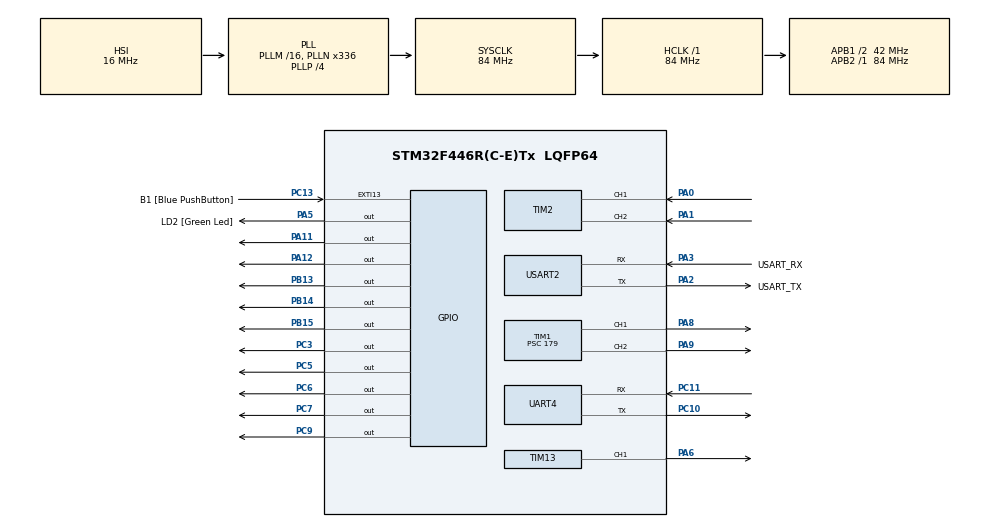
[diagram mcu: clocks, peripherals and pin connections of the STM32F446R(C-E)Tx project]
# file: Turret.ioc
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Dma.Request0=UART4_RX
Dma.UART4_RX.0.Direction=DMA_PERIPH_TO_MEMORY
Dma.UART4_RX.0.FIFOMode=DMA_FIFOMODE_DISABLE
Dma.UART4_RX.0.Instance=DMA1_Stream2
Dma.UART4_RX.0.MemDataAlignment=DMA_MDATAALIGN_BYTE
Dma.UART4_RX.0.MemInc=DMA_MINC_ENABLE
Dma.UART4_RX.0.Mode=DMA_CIRCULAR
Dma.UART4_RX.0.PeriphDataAlignment=DMA_PDATAALIGN_BYTE
Dma.UART4_RX.0.PeriphInc=DMA_PINC_DISABLE
Dma.UART4_RX.0.Priority=DMA_PRIORITY_LOW
Mcu.Family=STM32F4
Mcu.Name=STM32F446R(C-E)Tx
Mcu.Package=LQFP64
NVIC.DMA1_Stream2_IRQn=true\:0\:0\:false\:false\:true\:false\:true\:true
NVIC.PriorityGroup=NVIC_PRIORITYGROUP_0
NVIC.UART4_IRQn=true\:0\:0\:false\:false\:true\:true\:true\:true
PA0-WKUP.GPIO_PuPd=GPIO_PULLUP
PA0-WKUP.Signal=S_TIM2_CH1_ETR
PA1.GPIO_PuPd=GPIO_PULLUP
PA1.Signal=S_TIM2_CH2
PA11.Signal=GPIO_Output
PA12.Signal=GPIO_Output
PA13.GPIO_Label=TMS
PA13.Mode=Serial_Wire
PA13.Signal=SYS_JTMS-SWDIO
PA14.GPIO_Label=TCK
PA14.Mode=Serial_Wire
PA14.Signal=SYS_JTCK-SWCLK
PA2.GPIO_Label=USART_TX
PA2.Mode=Asynchronous
PA2.Signal=USART2_TX
PA3.GPIO_Label=USART_RX
PA3.Mode=Asynchronous
PA3.Signal=USART2_RX
PA5.GPIO_Label=LD2 [Green Led]
PA5.Signal=GPIO_Output
PA6.Signal=S_TIM13_CH1
PA8.Signal=S_TIM1_CH1
PA9.Signal=S_TIM1_CH2
PB13.Signal=GPIO_Output
PB14.Signal=GPIO_Output
PB15.Signal=GPIO_Output
PB3.GPIO_Label=SWO
PB3.Signal=SYS_JTDO-SWO
PC10.Mode=Asynchronous
PC10.Signal=UART4_TX
PC11.Mode=Asynchronous
PC11.Signal=UART4_RX
PC13.GPIO_Label=B1 [Blue PushButton]
PC13.GPIO_ModeDefaultEXTI=GPIO_MODE_IT_FALLING
PC13.Signal=GPXTI13
PC14-OSC32_IN.Mode=LSE-External-Oscillator
PC14-OSC32_IN.Signal=RCC_OSC32_IN
PC15-OSC32_OUT.Mode=LSE-External-Oscillator
PC15-OSC32_OUT.Signal=RCC_OSC32_OUT
PC3.Signal=GPIO_Output
PC5.Signal=GPIO_Output
PC6.Signal=GPIO_Output
PC7.Signal=GPIO_Output
PC9.Signal=GPIO_Output
PH0-OSC_IN.Mode=HSE-External-Oscillator
PH0-OSC_IN.Signal=RCC_OSC_IN
PH1-OSC_OUT.Mode=HSE-External-Oscillator
PH1-OSC_OUT.Signal=RCC_OSC_OUT
ProjectManager.HeapSize=0x200
ProjectManager.StackSize=0x400
ProjectManager.TargetToolchain=STM32CubeIDE
RCC.48MHZClocksFreq_Value=84000000
RCC.AHBFreq_Value=84000000
RCC.APB1CLKDivider=RCC_HCLK_DIV2
RCC.APB1Freq_Value=42000000
RCC.APB1TimFreq_Value=84000000
RCC.APB2Freq_Value=84000000
RCC.APB2TimFreq_Value=84000000
RCC.CortexFreq_Value=84000000
RCC.FLatency-AdvancedSettings=FLASH_LATENCY_2
RCC.HCLKFreq_Value=84000000
RCC.HSE_VALUE=8000000
RCC.HSI_VALUE=16000000
RCC.PLLN=336
RCC.PLLP=RCC_PLLP_DIV4
RCC.SYSCLKFreq_VALUE=84000000
RCC.SYSCLKSource=RCC_SYSCLKSOURCE_PLLCLK
RCC.USBFreq_Value=168000000
RCC.VCOOutputFreq_Value=336000000
SH.S_TIM13_CH1.0=TIM13_CH1,PWM Generation1 CH1
SH.S_TIM1_CH1.0=TIM1_CH1,PWM Generation1 CH1
SH.S_TIM1_CH2.0=TIM1_CH2,PWM Generation2 CH2
SH.S_TIM2_CH1_ETR.0=TIM2_CH1,Encoder_Interface
SH.S_TIM2_CH2.0=TIM2_CH2,Encoder_Interface
TIM1.Channel-PWM\ Generation1\ CH1=TIM_CHANNEL_1
TIM1.Channel-PWM\ Generation2\ CH2=TIM_CHANNEL_2
TIM1.Period=999
TIM1.Prescaler=179
TIM13.Channel=TIM_CHANNEL_1
TIM13.Period=999
TIM13.Prescaler=179
UART4.VirtualMode=Asynchronous
USART2.VirtualMode=VM_ASYNC
VP_TIM13_VS_ClockSourceINT.Mode=Enable_Timer
VP_TIM1_VS_ClockSourceINT.Mode=Internal
board=NUCLEO-F446RE

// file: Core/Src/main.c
/* USER CODE BEGIN Header */
/**
 ******************************************************************************
 * @file           : main.c
 * @brief          : Main program body
 ******************************************************************************
 * @attention
 *
 * Copyright (c) 2025 STMicroelectronics.
 * All rights reserved.
 *
 * This software is licensed under terms that can be found in the LICENSE file
 * in the root directory of this software component.
 * If no LICENSE file comes with this software, it is provided AS-IS.
 *
 ******************************************************************************
 */
/* USER CODE END Header */
#include "main.h"

/* USER CODE BEGIN Includes */
#define sign(x) ((x) < 0 ? -1 : ((x) > 0 ? 1 : 0))
#define STEPS 240
#include "stdio.h"
#include<stdio.h>
#include<inttypes.h>
#include<Math.h>
#include <stdbool.h>
#include <stdlib.h>
/* USER CODE END Includes */

TIM_HandleTypeDef htim1;
TIM_HandleTypeDef htim2;
TIM_HandleTypeDef htim13;

UART_HandleTypeDef huart4;
UART_HandleTypeDef huart2;
DMA_HandleTypeDef hdma_uart4_rx;

/* USER CODE BEGIN PV */
int16_t signed_counter = 0;
int slow = 125;
int fast = 850;
int Buff1 = 50;
int Buff2 = -50;
int BuffP = 50;
int BuffN = -50;
int deadzone = 50;
int32_t lx, ly, rx, ry, cro, squ, tri, cir, up, down, left, right, ll1, rr1,
		ll2, rr2, rL, rR;
//float cos30 = (sqrt(3)/2);
double kp, kd, c, kt, k, ki;
float last_encoder = 0.0f;
const int encoderPPR = 600 * 6;

// stepper
static uint32_t last_step_time = 0;
static uint32_t last_step_time1 = 0;
static uint32_t last_step_time2 = 0;
static int step_state = 0;
static int step_state1 = 0;
static int step_state2 = 0;
static int direction = 1;
static int direction1 = 1;
int step_delay = 1;
int step_delay1 = 1;
int step_delay2 = 1;
int speed=80;//94 for 2 points
static int stepper_running = 0;  // Toggle flag
static int stepper_running1 = 0;  // Toggle flag
static int stepper_running2 = 0;  // Toggle flag
static int ebike_running = 0;  // Toggle flag
static int prev_cir = 0;
static int prev_tri = 0;
static int prev_cro = 0;
static int prev_squ = 0;
static int prev_ll1 = 0;
static int prev_rr1 = 0;
static int prev_ll2 = 0;
static int prev_rr2 = 0;
uint32_t target_steps = 0;
uint32_t current_steps = 0;
uint32_t target_steps1 = 0;
uint32_t target_steps2 = 0;
uint32_t current_steps1 = 0;
uint32_t current_steps2 = 0;

int setpoint = 0;
int error, lasterr;
float output;
float errsum;

unsigned long now, lastTime;

uint8_t rxbuff[16];

uint16_t dutycycle = 0;

// pneumatics
static int pneumatic_open = 0;
/* USER CODE END PV */

void SystemClock_Config(void);
static void MX_GPIO_Init(void);
static void MX_DMA_Init(void);
static void MX_USART2_UART_Init(void);
static void MX_TIM13_Init(void);
static void MX_UART4_Init(void);
static void MX_TIM1_Init(void);
static void MX_TIM2_Init(void);

/* USER CODE BEGIN 0 */
void HAL_UART_RxCpltCallback(UART_HandleTypeDef *huart) {
	HAL_UART_Receive_DMA(&huart4, rxbuff, 16);
}
long map(long x, long in_min, long in_max, long out_min, long out_max) {

	return (x - in_min) * (out_max - out_min) / (in_max - in_min) + out_min;

}
int constrain(int value, int min_val, int max_val) {
	if (value < min_val)
		return min_val;
	if (value > max_val)
		return max_val;
	return value;
}
void compute() {
	unsigned long now = HAL_GetTick();
	double timeChange = (double) (now - lastTime);
	error = setpoint - signed_counter;
	double derr = (error - lasterr) / timeChange;
	errsum += error;
	float s = c * error + derr;
	output = kp * error + kd * derr + kt * (k * sign(s));
	output = constrain(output, -500, 500);
	output = abs(output);
	lasterr = error;
	lastTime = now;
//	printf("error = %d \n\r",error);

}
void SetTunings(double Kp, double Ki, double Kd, double Kt, double K) {
	kp = Kp;
	ki = Ki;
	kd = Kd;
	kt = Kt;
	k = K;
}
/* USER CODE END 0 */

int main(void)
{

  /* MCU Configuration--------------------------------------------------------*/

  /* Reset of all peripherals, Initializes the Flash interface and the Systick. */
  HAL_Init();

  /* Configure the system clock */
  SystemClock_Config();

  /* Initialize all configured peripherals */
  MX_GPIO_Init();
  MX_DMA_Init();
  MX_USART2_UART_Init();
  MX_TIM13_Init();
  MX_UART4_Init();
  MX_TIM1_Init();
  MX_TIM2_Init();
  /* USER CODE BEGIN 2 */
	HAL_UART_Receive_DMA(&huart4, rxbuff, 16);
	HAL_TIM_Encoder_Start(&htim2, TIM_CHANNEL_ALL);
  /* USER CODE END 2 */

  /* Infinite loop */
	while (1) {

    /* USER CODE BEGIN 3 */
		/* ps5 controller */
		lx = (rxbuff[0] & 0x80) ?
				(int32_t) rxbuff[0] - 256 : (int32_t) rxbuff[0];
		ly = (rxbuff[1] & 0x80) ?
				(int32_t) rxbuff[1] - 256 : (int32_t) rxbuff[1];
		rx = (rxbuff[2] & 0x80) ?
				(int32_t) rxbuff[2] - 256 : (int32_t) rxbuff[2];
		ry = (rxbuff[3] & 0x80) ?
				(int32_t) rxbuff[3] - 256 : (int32_t) rxbuff[3];
		cro = (rxbuff[4] & 0x80) ?
				(int32_t) rxbuff[4] - 256 : (int32_t) rxbuff[4];
		squ = (rxbuff[5] & 0x80) ?
				(int32_t) rxbuff[5] - 256 : (int32_t) rxbuff[5];
		tri = (rxbuff[6] & 0x80) ?
				(int32_t) rxbuff[6] - 256 : (int32_t) rxbuff[6];
		cir = (rxbuff[7] & 0x80) ?
				(int32_t) rxbuff[7] - 256 : (int32_t) rxbuff[7];
		up = (rxbuff[8] & 0x80) ?
				(int32_t) rxbuff[8] - 256 : (int32_t) rxbuff[8];
		down = (rxbuff[9] & 0x80) ?
				(int32_t) rxbuff[9] - 256 : (int32_t) rxbuff[9];
		left = (rxbuff[10] & 0x80) ?
				(int32_t) rxbuff[10] - 256 : (int32_t) rxbuff[10];
		right = (rxbuff[11] & 0x80) ?
				(int32_t) rxbuff[11] - 256 : (int32_t) rxbuff[11];
		ll1 = (rxbuff[12] & 0x80) ?
				(int32_t) rxbuff[12] - 256 : (int32_t) rxbuff[12];
		ll2 = (rxbuff[13] & 0x80) ?
				(int32_t) rxbuff[13] - 256 : (int32_t) rxbuff[13];
		rr1 = (rxbuff[14] & 0x80) ?
				(int32_t) rxbuff[14] - 256 : (int32_t) rxbuff[14];
		rr2 = (rxbuff[15] & 0x80) ?
				(int32_t) rxbuff[15] - 256 : (int32_t) rxbuff[15];

		printf(
				"Received Integers: %ld %ld %ld %ld %ld %ld %ld %ld %ld %ld %ld %ld %d\r\n",
				lx, ly, rx, ry, cro, squ, tri, cir, ll1, rr1, ll2, rr2,speed);
		//	  		printf("Received Integers: %ld %ld %ld %ld %ld %ld %ld %ld\r\n", lx, ly,
		//	  				rx, ry, cro, squ, tri, cir);

		/* encoder */
		uint16_t raw_counter = __HAL_TIM_GET_COUNTER(&htim2);

		// Convert to signed values
		signed_counter =
				(raw_counter < 32768) ?
						(int16_t) raw_counter : (int16_t) (raw_counter - 65536);

		/* PSMC */
		SetTunings(0.5, 0.5, 0, 10.0, -0.005); // Initial tuning for 50kg·cm motor
		c = 1.5;  // Sliding surface parameter
		if (left == 1)
			setpoint += 100;
		else if (right == 1)
			setpoint -= 100;
		compute();
		//	 	  +
		if (signed_counter < setpoint) {
			HAL_GPIO_WritePin(GPIOC, GPIO_PIN_9, GPIO_PIN_SET);
			TIM1->CCR1 = output;
			HAL_TIM_PWM_Start(&htim1, TIM_CHANNEL_1);
		}

		else if (signed_counter > setpoint) {
			HAL_GPIO_WritePin(GPIOC, GPIO_PIN_9, GPIO_PIN_RESET);
			TIM1->CCR1 = output;
			HAL_TIM_PWM_Start(&htim1, TIM_CHANNEL_1);
		} else {
			TIM1->CCR1 = 0;
			HAL_TIM_PWM_Start(&htim1, TIM_CHANNEL_1);
		}

		printf("Counts = %d \r\n", signed_counter);

		/* stepper */
		HAL_GPIO_WritePin(GPIOB, GPIO_PIN_13,
				direction ? GPIO_PIN_SET : GPIO_PIN_RESET);
		HAL_GPIO_WritePin(GPIOC, GPIO_PIN_3,
				direction1 ? GPIO_PIN_SET : GPIO_PIN_RESET);
		HAL_GPIO_WritePin(GPIOC, GPIO_PIN_6,
				!direction1 ? GPIO_PIN_SET : GPIO_PIN_RESET);

		if (ll1 == 1 && !prev_ll1) {  // LL1 button pressed
			direction1 = 1;  // Set to Anti-clockwise
			stepper_running = 1;
			stepper_running1 = 1;
			target_steps = STEPS;
			target_steps1 = STEPS;
			speed+=2;
			HAL_GPIO_WritePin(GPIOC, GPIO_PIN_7, GPIO_PIN_RESET);
		}
		if (rr1 == 1 && !prev_rr1) {  // RR1 button pressed
			direction1 = 0;  // Set to Clockwise
			stepper_running = 1;
			stepper_running1 = 1;
			target_steps = STEPS;
			target_steps1 = STEPS;
			speed-=2;
			HAL_GPIO_WritePin(GPIOC, GPIO_PIN_7, GPIO_PIN_RESET);
		}
		if (ll2 == 1 && !prev_ll2) {  // LL1 button pressed
			direction = 1;  // Set to Anti-clockwise
			stepper_running2 = !stepper_running2;
			HAL_GPIO_WritePin(GPIOC, GPIO_PIN_7, GPIO_PIN_RESET);
		}
		if (rr2 == 1 && !prev_rr2) {  // RR1 button pressed
			direction = 0;  // Set to Clockwise
			stepper_running2 = !stepper_running2;
			HAL_GPIO_WritePin(GPIOC, GPIO_PIN_7, GPIO_PIN_RESET);
		}
		if (cir == 1 && !prev_cir) {
			stepper_running1 = 0;
			current_steps = 0;
			current_steps1 = 0;
			HAL_GPIO_WritePin(GPIOC, GPIO_PIN_7, GPIO_PIN_SET);
		}
		prev_ll1 = ll1;
		prev_rr1 = rr1;
		prev_ll2 = ll2;
		prev_rr2 = rr2;
		prev_cir = cir;
//		if (stepper_running && (HAL_GetTick() - last_step_time) >= step_delay
//				&& current_steps < target_steps) {
//			last_step_time = HAL_GetTick(); // Update last step time
//
//			if (step_state == 0) {
//				HAL_GPIO_WritePin(GPIOC, GPIO_PIN_5, GPIO_PIN_SET); // Step HIGH
//				step_state = 1;
//				current_steps++;
//			} else {
//				HAL_GPIO_WritePin(GPIOC, GPIO_PIN_5, GPIO_PIN_RESET); // Step LOW
//				step_state = 0;
//			}
//		}
//		if (stepper_running1 && (HAL_GetTick() - last_step_time1) >= step_delay1
//				&& current_steps1 < target_steps1) {
//			last_step_time1 = HAL_GetTick(); // Update last step time
//
//			if (step_state1 == 0) {
//				HAL_GPIO_WritePin(GPIOB, GPIO_PIN_15, GPIO_PIN_SET); // Step HIGH
//				step_state1 = 1;
//				current_steps1++;
//			} else {
//				HAL_GPIO_WritePin(GPIOB, GPIO_PIN_15, GPIO_PIN_RESET); // Step LOW
//				step_state1 = 0;
//			}
//		}
		if (stepper_running && (HAL_GetTick() - last_step_time) >= step_delay) {
			last_step_time = HAL_GetTick(); // Update last step time

			if (step_state == 0) {
				HAL_GPIO_WritePin(GPIOC, GPIO_PIN_5, GPIO_PIN_SET); // Step HIGH
				step_state = 1;
				current_steps++;
			} else {
				HAL_GPIO_WritePin(GPIOC, GPIO_PIN_5, GPIO_PIN_RESET); // Step LOW
				step_state = 0;
			}
		}
		if (stepper_running1
				&& (HAL_GetTick() - last_step_time1) >= step_delay1) {
			last_step_time1 = HAL_GetTick(); // Update last step time

			if (step_state1 == 0) {
				HAL_GPIO_WritePin(GPIOB, GPIO_PIN_15, GPIO_PIN_SET); // Step HIGH
				step_state1 = 1;
				current_steps1++;
			} else {
				HAL_GPIO_WritePin(GPIOB, GPIO_PIN_15, GPIO_PIN_RESET); // Step LOW
				step_state1 = 0;
			}
		}
		if (stepper_running2
				&& (HAL_GetTick() - last_step_time2) >= step_delay2) {
			last_step_time2 = HAL_GetTick(); // Update last step time

			if (step_state2 == 0) {
				HAL_GPIO_WritePin(GPIOB, GPIO_PIN_14, GPIO_PIN_SET); // Step HIGH
				step_state2 = 1;
				current_steps2++;
			} else {
				HAL_GPIO_WritePin(GPIOB, GPIO_PIN_14, GPIO_PIN_RESET); // Step LOW
				step_state2 = 0;
			}
		}

		// Stop when target steps are reached
//		if (current_steps >= target_steps) {
//			stepper_running = 0;
//			current_steps = 0;
//			HAL_GPIO_WritePin(GPIOC, GPIO_PIN_7, GPIO_PIN_SET);
//		}
//		if (current_steps1 >= target_steps1) {
//			stepper_running1 = 0;
//			current_steps1 = 0;
//			HAL_GPIO_WritePin(GPIOC, GPIO_PIN_7, GPIO_PIN_SET);
//		}

		/* Dribbling */
		if (tri == 1 && !prev_tri) {
			ebike_running = 1;
		}
		if (cro == 1 && !prev_cro) {
			ebike_running = 0;
		}
		prev_tri = tri;
		prev_cro = cro;
//		if (ly >= Buff1 && (lx <= BuffP && lx >= BuffN)) {
//			HAL_GPIO_WritePin(GPIOA, GPIO_PIN_11, 1);
//			dutycycle = map(ly, Buff1, 127, 0, fast);
//			TIM1->CCR2 = (dutycycle*0.70 * 999) / fast;  //rpm 2000 test
//			HAL_TIM_PWM_Start(&htim1, TIM_CHANNEL_2);
//		} else {
//			TIM1->CCR2 = 0;
//			HAL_TIM_PWM_Start(&htim1, TIM_CHANNEL_2);
////			HAL_GPIO_WritePin(GPIOA, GPIO_PIN_11, 0);
//		}

		if (ebike_running) {
			HAL_GPIO_WritePin(GPIOA, GPIO_PIN_11, 1);
//			dutycycle = map(ly, Buff1, 127, 0, fast);
//			TIM1->CCR2 = (dutycycle*0.70 * 999) / 100;  //rpm 2000 test
			TIM1->CCR2 = (speed * 999) / 100;  //rpm 2000 test
			HAL_TIM_PWM_Start(&htim1, TIM_CHANNEL_2);
		} else {
			TIM1->CCR2 = 0;
			HAL_TIM_PWM_Start(&htim1, TIM_CHANNEL_2);
//			HAL_GPIO_WritePin(GPIOA, GPIO_PIN_11, 0);
		}
//		HAL_GPIO_WritePin(GPIOA, GPIO_PIN_11, 1);
//		TIM1->CCR2 = (100 * 999) / 100;  //rpm 2000 test
//		HAL_TIM_PWM_Start(&htim1, TIM_CHANNEL_2);

		// pneumatics
//		if (squ == 1 && !prev_squ) {
//			pneumatic_open = !pneumatic_open;
//		}
//		prev_squ = squ;
		if (squ == 1) {
			pneumatic_open = 1;
		} else {
			pneumatic_open = 0;
		}

		if (pneumatic_open) {
			HAL_GPIO_WritePin(GPIOA, GPIO_PIN_12, 1);
		} else {
			HAL_GPIO_WritePin(GPIOA, GPIO_PIN_12, 0);
		}
	}
  /* USER CODE END 3 */
}

void SystemClock_Config(void)
{
  RCC_OscInitTypeDef RCC_OscInitStruct = {0};
  RCC_ClkInitTypeDef RCC_ClkInitStruct = {0};

  /** Configure the main internal regulator output voltage
  */
  __HAL_RCC_PWR_CLK_ENABLE();
  __HAL_PWR_VOLTAGESCALING_CONFIG(PWR_REGULATOR_VOLTAGE_SCALE3);

  /** Initializes the RCC Oscillators according to the specified parameters
  * in the RCC_OscInitTypeDef structure.
  */
  RCC_OscInitStruct.OscillatorType = RCC_OSCILLATORTYPE_HSI;
  RCC_OscInitStruct.HSIState = RCC_HSI_ON;
  RCC_OscInitStruct.HSICalibrationValue = RCC_HSICALIBRATION_DEFAULT;
  RCC_OscInitStruct.PLL.PLLState = RCC_PLL_ON;
  RCC_OscInitStruct.PLL.PLLSource = RCC_PLLSOURCE_HSI;
  RCC_OscInitStruct.PLL.PLLM = 16;
  RCC_OscInitStruct.PLL.PLLN = 336;
  RCC_OscInitStruct.PLL.PLLP = RCC_PLLP_DIV4;
  RCC_OscInitStruct.PLL.PLLQ = 2;
  RCC_OscInitStruct.PLL.PLLR = 2;
  if (HAL_RCC_OscConfig(&RCC_OscInitStruct) != HAL_OK)
  {
    Error_Handler();
  }

  /** Initializes the CPU, AHB and APB buses clocks
  */
  RCC_ClkInitStruct.ClockType = RCC_CLOCKTYPE_HCLK|RCC_CLOCKTYPE_SYSCLK
                              |RCC_CLOCKTYPE_PCLK1|RCC_CLOCKTYPE_PCLK2;
  RCC_ClkInitStruct.SYSCLKSource = RCC_SYSCLKSOURCE_PLLCLK;
  RCC_ClkInitStruct.AHBCLKDivider = RCC_SYSCLK_DIV1;
  RCC_ClkInitStruct.APB1CLKDivider = RCC_HCLK_DIV2;
  RCC_ClkInitStruct.APB2CLKDivider = RCC_HCLK_DIV1;

  if (HAL_RCC_ClockConfig(&RCC_ClkInitStruct, FLASH_LATENCY_2) != HAL_OK)
  {
    Error_Handler();
  }
}

static void MX_TIM1_Init(void)
{

  TIM_ClockConfigTypeDef sClockSourceConfig = {0};
  TIM_MasterConfigTypeDef sMasterConfig = {0};
  TIM_OC_InitTypeDef sConfigOC = {0};
  TIM_BreakDeadTimeConfigTypeDef sBreakDeadTimeConfig = {0};

  htim1.Instance = TIM1;
  htim1.Init.Prescaler = 179;
  htim1.Init.CounterMode = TIM_COUNTERMODE_UP;
  htim1.Init.Period = 999;
  htim1.Init.ClockDivision = TIM_CLOCKDIVISION_DIV1;
  htim1.Init.RepetitionCounter = 0;
  htim1.Init.AutoReloadPreload = TIM_AUTORELOAD_PRELOAD_DISABLE;
  if (HAL_TIM_Base_Init(&htim1) != HAL_OK)
  {
    Error_Handler();
  }
  sClockSourceConfig.ClockSource = TIM_CLOCKSOURCE_INTERNAL;
  if (HAL_TIM_ConfigClockSource(&htim1, &sClockSourceConfig) != HAL_OK)
  {
    Error_Handler();
  }
  if (HAL_TIM_PWM_Init(&htim1) != HAL_OK)
  {
    Error_Handler();
  }
  sMasterConfig.MasterOutputTrigger = TIM_TRGO_RESET;
  sMasterConfig.MasterSlaveMode = TIM_MASTERSLAVEMODE_DISABLE;
  if (HAL_TIMEx_MasterConfigSynchronization(&htim1, &sMasterConfig) != HAL_OK)
  {
    Error_Handler();
  }
  sConfigOC.OCMode = TIM_OCMODE_PWM1;
  sConfigOC.Pulse = 0;
  sConfigOC.OCPolarity = TIM_OCPOLARITY_HIGH;
  sConfigOC.OCNPolarity = TIM_OCNPOLARITY_HIGH;
  sConfigOC.OCFastMode = TIM_OCFAST_DISABLE;
  sConfigOC.OCIdleState = TIM_OCIDLESTATE_RESET;
  sConfigOC.OCNIdleState = TIM_OCNIDLESTATE_RESET;
  if (HAL_TIM_PWM_ConfigChannel(&htim1, &sConfigOC, TIM_CHANNEL_1) != HAL_OK)
  {
    Error_Handler();
  }
  if (HAL_TIM_PWM_ConfigChannel(&htim1, &sConfigOC, TIM_CHANNEL_2) != HAL_OK)
  {
    Error_Handler();
  }
  sBreakDeadTimeConfig.OffStateRunMode = TIM_OSSR_DISABLE;
  sBreakDeadTimeConfig.OffStateIDLEMode = TIM_OSSI_DISABLE;
  sBreakDeadTimeConfig.LockLevel = TIM_LOCKLEVEL_OFF;
  sBreakDeadTimeConfig.DeadTime = 0;
  sBreakDeadTimeConfig.BreakState = TIM_BREAK_DISABLE;
  sBreakDeadTimeConfig.BreakPolarity = TIM_BREAKPOLARITY_HIGH;
  sBreakDeadTimeConfig.AutomaticOutput = TIM_AUTOMATICOUTPUT_DISABLE;
  if (HAL_TIMEx_ConfigBreakDeadTime(&htim1, &sBreakDeadTimeConfig) != HAL_OK)
  {
    Error_Handler();
  }
  HAL_TIM_MspPostInit(&htim1);

}

static void MX_TIM2_Init(void)
{

  TIM_Encoder_InitTypeDef sConfig = {0};
  TIM_MasterConfigTypeDef sMasterConfig = {0};

  htim2.Instance = TIM2;
  htim2.Init.Prescaler = 0;
  htim2.Init.CounterMode = TIM_COUNTERMODE_UP;
  htim2.Init.Period = 4294967295;
  htim2.Init.ClockDivision = TIM_CLOCKDIVISION_DIV1;
  htim2.Init.AutoReloadPreload = TIM_AUTORELOAD_PRELOAD_DISABLE;
  sConfig.EncoderMode = TIM_ENCODERMODE_TI1;
  sConfig.IC1Polarity = TIM_ICPOLARITY_RISING;
  sConfig.IC1Selection = TIM_ICSELECTION_DIRECTTI;
  sConfig.IC1Prescaler = TIM_ICPSC_DIV1;
  sConfig.IC1Filter = 0;
  sConfig.IC2Polarity = TIM_ICPOLARITY_RISING;
  sConfig.IC2Selection = TIM_ICSELECTION_DIRECTTI;
  sConfig.IC2Prescaler = TIM_ICPSC_DIV1;
  sConfig.IC2Filter = 0;
  if (HAL_TIM_Encoder_Init(&htim2, &sConfig) != HAL_OK)
  {
    Error_Handler();
  }
  sMasterConfig.MasterOutputTrigger = TIM_TRGO_RESET;
  sMasterConfig.MasterSlaveMode = TIM_MASTERSLAVEMODE_DISABLE;
  if (HAL_TIMEx_MasterConfigSynchronization(&htim2, &sMasterConfig) != HAL_OK)
  {
    Error_Handler();
  }

}

static void MX_TIM13_Init(void)
{

  TIM_OC_InitTypeDef sConfigOC = {0};

  htim13.Instance = TIM13;
  htim13.Init.Prescaler = 179;
  htim13.Init.CounterMode = TIM_COUNTERMODE_UP;
  htim13.Init.Period = 999;
  htim13.Init.ClockDivision = TIM_CLOCKDIVISION_DIV1;
  htim13.Init.AutoReloadPreload = TIM_AUTORELOAD_PRELOAD_DISABLE;
  if (HAL_TIM_Base_Init(&htim13) != HAL_OK)
  {
    Error_Handler();
  }
  if (HAL_TIM_PWM_Init(&htim13) != HAL_OK)
  {
    Error_Handler();
  }
  sConfigOC.OCMode = TIM_OCMODE_PWM1;
  sConfigOC.Pulse = 0;
  sConfigOC.OCPolarity = TIM_OCPOLARITY_HIGH;
  sConfigOC.OCFastMode = TIM_OCFAST_DISABLE;
  if (HAL_TIM_PWM_ConfigChannel(&htim13, &sConfigOC, TIM_CHANNEL_1) != HAL_OK)
  {
    Error_Handler();
  }
  HAL_TIM_MspPostInit(&htim13);

}

static void MX_UART4_Init(void)
{

  huart4.Instance = UART4;
  huart4.Init.BaudRate = 115200;
  huart4.Init.WordLength = UART_WORDLENGTH_8B;
  huart4.Init.StopBits = UART_STOPBITS_1;
  huart4.Init.Parity = UART_PARITY_NONE;
  huart4.Init.Mode = UART_MODE_TX_RX;
  huart4.Init.HwFlowCtl = UART_HWCONTROL_NONE;
  huart4.Init.OverSampling = UART_OVERSAMPLING_16;
  if (HAL_UART_Init(&huart4) != HAL_OK)
  {
    Error_Handler();
  }

}

static void MX_USART2_UART_Init(void)
{

  huart2.Instance = USART2;
  huart2.Init.BaudRate = 115200;
  huart2.Init.WordLength = UART_WORDLENGTH_8B;
  huart2.Init.StopBits = UART_STOPBITS_1;
  huart2.Init.Parity = UART_PARITY_NONE;
  huart2.Init.Mode = UART_MODE_TX_RX;
  huart2.Init.HwFlowCtl = UART_HWCONTROL_NONE;
  huart2.Init.OverSampling = UART_OVERSAMPLING_16;
  if (HAL_UART_Init(&huart2) != HAL_OK)
  {
    Error_Handler();
  }

}

static void MX_DMA_Init(void)
{

  /* DMA controller clock enable */
  __HAL_RCC_DMA1_CLK_ENABLE();

  /* DMA interrupt init */
  /* DMA1_Stream2_IRQn interrupt configuration */
  HAL_NVIC_SetPriority(DMA1_Stream2_IRQn, 0, 0);
  HAL_NVIC_EnableIRQ(DMA1_Stream2_IRQn);

}

static void MX_GPIO_Init(void)
{
  GPIO_InitTypeDef GPIO_InitStruct = {0};

  /* GPIO Ports Clock Enable */
  __HAL_RCC_GPIOC_CLK_ENABLE();
  __HAL_RCC_GPIOH_CLK_ENABLE();
  __HAL_RCC_GPIOA_CLK_ENABLE();
  __HAL_RCC_GPIOB_CLK_ENABLE();

  /*Configure GPIO pin Output Level */
  HAL_GPIO_WritePin(GPIOC, GPIO_PIN_3|GPIO_PIN_5|GPIO_PIN_6|GPIO_PIN_7
                          |GPIO_PIN_9, GPIO_PIN_RESET);

  /*Configure GPIO pin Output Level */
  HAL_GPIO_WritePin(GPIOA, LD2_Pin|GPIO_PIN_11|GPIO_PIN_12, GPIO_PIN_RESET);

  /*Configure GPIO pin Output Level */
  HAL_GPIO_WritePin(GPIOB, GPIO_PIN_13|GPIO_PIN_14|GPIO_PIN_15, GPIO_PIN_RESET);

  /*Configure GPIO pin : B1_Pin */
  GPIO_InitStruct.Pin = B1_Pin;
  GPIO_InitStruct.Mode = GPIO_MODE_IT_FALLING;
  GPIO_InitStruct.Pull = GPIO_NOPULL;
  HAL_GPIO_Init(B1_GPIO_Port, &GPIO_InitStruct);

  /*Configure GPIO pins : PC3 PC5 PC6 PC7
                           PC9 */
  GPIO_InitStruct.Pin = GPIO_PIN_3|GPIO_PIN_5|GPIO_PIN_6|GPIO_PIN_7
                          |GPIO_PIN_9;
  GPIO_InitStruct.Mode = GPIO_MODE_OUTPUT_PP;
  GPIO_InitStruct.Pull = GPIO_NOPULL;
  GPIO_InitStruct.Speed = GPIO_SPEED_FREQ_LOW;
  HAL_GPIO_Init(GPIOC, &GPIO_InitStruct);

  /*Configure GPIO pins : LD2_Pin PA11 PA12 */
  GPIO_InitStruct.Pin = LD2_Pin|GPIO_PIN_11|GPIO_PIN_12;
  GPIO_InitStruct.Mode = GPIO_MODE_OUTPUT_PP;
  GPIO_InitStruct.Pull = GPIO_NOPULL;
  GPIO_InitStruct.Speed = GPIO_SPEED_FREQ_LOW;
  HAL_GPIO_Init(GPIOA, &GPIO_InitStruct);

  /*Configure GPIO pins : PB13 PB14 PB15 */
  GPIO_InitStruct.Pin = GPIO_PIN_13|GPIO_PIN_14|GPIO_PIN_15;
  GPIO_InitStruct.Mode = GPIO_MODE_OUTPUT_PP;
  GPIO_InitStruct.Pull = GPIO_NOPULL;
  GPIO_InitStruct.Speed = GPIO_SPEED_FREQ_LOW;
  HAL_GPIO_Init(GPIOB, &GPIO_InitStruct);

}

/* USER CODE BEGIN 4 */
int _write(int file, char *ptr, int len) {
	HAL_UART_Transmit(&huart2, (uint8_t*) ptr, len, HAL_MAX_DELAY);
	return len;
}
/* USER CODE END 4 */

void Error_Handler(void)
{
	__disable_irq();
	while (1) {
	}
}
